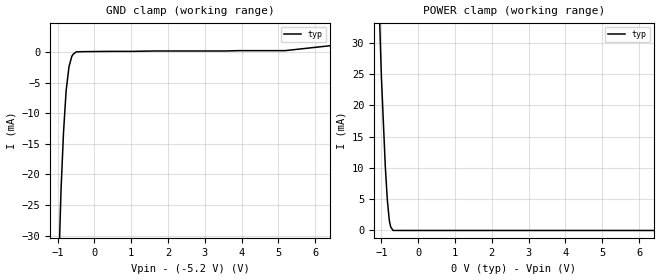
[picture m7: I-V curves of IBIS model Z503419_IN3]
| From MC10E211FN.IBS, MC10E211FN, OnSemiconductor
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| (C) COPYRIGHT 1993-2000
| MENTOR GRAPHICS CORPORATION
| ICX STANDARD LIBRARY, ICX PROJECT MODELING,
| ICX CUSTOM MODELING, ICX VENDOR MODEL
| ALL RIGHTS RESERVED.
| THE FOLLOWING ARE TRADEMARKS OR SERVICE MARKS OF
| MENTOR GRAPHICS CORPORATION:ICX (R), ICX STANDARD
| LIBRARY(R), ICX PROJECT MODELING(R), ICX CUSTOM
| MODELING(R), qualityIBIS(TM), MODELVIEWER(TM),
| AND MODELEDITOR(TM)
| ALL COPIES OF SOFTWARE, INCLUDING BUT NOT LIMITED TO
| ANY MODIFICATIONS, ENHANCEMENTS OR DERIVATIVE WORKS,
| MUST CONTAIN ALL MENTOR GRAPHICS CORPORATION'S
| NOTICES AND LEGENDS, INCLUDING THOSE EMBEDDED IN
| SOFTWARE AND THOSE AFFIXED TO SOFTWARE MEDIUM
| AND CONTAINER, AS RECEIVED FROM MENTOR GRAPHICS
| CORPORATION.
| Model Application Version 1.89 2/18/99.
[Model] Z503419_IN3
Model_type Input_ECL
Vinl = -1.480V
Vinh = -1.130V
C_comp 4.000pF NA NA
| variable typ   min   max
[Voltage Range] -5.200V NA NA
[GND Clamp Reference] -5.200V NA NA
[POWER Clamp Reference] 0.000V NA NA
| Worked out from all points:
|   GND clamp passes 1 mA (typ) near -0.63 V on its own axis
|   POWER clamp passes 1 mA (typ) near -0.76 V on its own axis
[GND Clamp]
-5.2V     -1.205A    NA         NA
-1.039V   -49.41mA   NA         NA
-908mV    -22.54mA   NA         NA
-840mV    -13.08mA   NA         NA
-769mV    -6.292mA   NA         NA
-691mV    -2.356mA   NA         NA
-615mV    -679uA     NA         NA
-576mV    -328uA     NA         NA
-493mV    51.42uA    NA         NA
5.177V    254.1uA    NA         NA
10.4V     3.671mA    NA         NA
[POWER Clamp]
-5.2V     1.629A     NA         NA
-1.323V   113.8mA    NA         NA
-1.177V   62.84mA    NA         NA
-1.117V   46.74mA    NA         NA
-1V       24.6mA     NA         NA
-893.6mV  10.22mA    NA         NA
-839.8mV  4.981mA    NA         NA
-785.8mV  1.648mA    NA         NA
-747.1mV  566uA      NA         NA
-684.5mV  3.206uA    NA         NA
-342.2mV  0A         NA         NA
10.4V     0A         NA         NA
